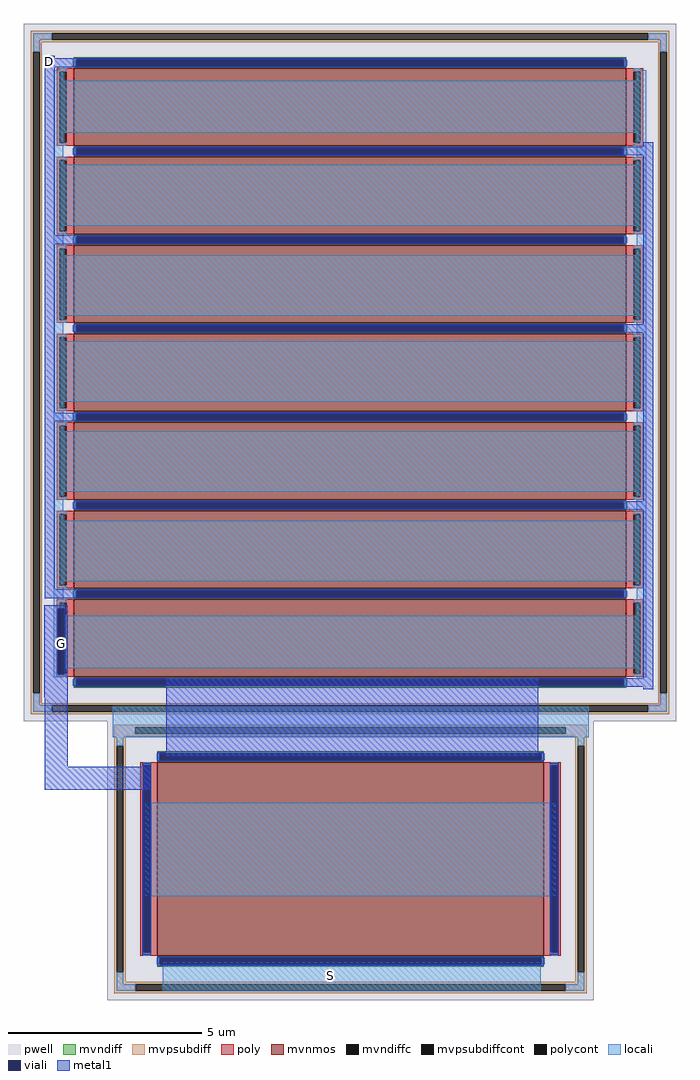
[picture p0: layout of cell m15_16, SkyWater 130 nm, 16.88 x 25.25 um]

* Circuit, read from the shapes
.subckt m15_16 D G S
XM1 D G n1 S sky130_fd_pr__nfet_g5v0d10v5 w=14.3 l=2 m=7
XM2 n1 G S S sky130_fd_pr__nfet_g5v0d10v5 w=10 l=5
.ends

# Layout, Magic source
magic
tech sky130A
magscale 1 2
<< locali >>
rect 74 3264 124 3318
rect 3090 3264 3140 3318
rect 74 2994 3140 3264
rect 74 2828 124 2994
rect 3090 2828 3140 2994
rect 74 2514 3140 2828
rect 74 1916 124 2514
rect 3090 2360 3140 2514
rect 128 2046 3140 2360
rect 3090 1916 3140 2046
rect 74 1602 3140 1916
rect 74 1450 124 1602
rect 3090 1450 3140 1602
rect 74 1136 3140 1450
rect 74 986 124 1136
rect 3090 986 3140 1136
rect 74 672 3140 986
rect 74 530 124 672
rect 74 192 94 530
rect 3090 494 3140 672
rect 132 224 3140 494
rect 74 176 124 192
rect 3090 176 3140 224
rect 380 -134 2842 24
rect 544 -956 2672 -474
rect 638 -1448 2594 -1296
<< viali >>
rect 94 192 132 530
<< metal1 >>
rect 28 586 80 3392
rect 3124 2922 3176 2944
rect 3016 2878 3176 2922
rect 3124 2004 3176 2878
rect 3024 1960 3176 2004
rect 3124 1088 3176 1960
rect 3024 1044 3176 1088
rect 24 530 146 550
rect 24 192 94 530
rect 132 192 146 530
rect 24 73 146 192
rect 3124 172 3176 1044
rect 27 -286 146 73
rect 656 -232 2580 170
rect 3026 128 3176 172
rect 3124 114 3176 128
rect 27 -405 575 -286
use sky130_fd_pr__nfet_g5v0d10v5_T8Q8WP  sky130_fd_pr__nfet_g5v0d10v5_T8Q8WP_0
transform 0 1 1607 -1 0 1753
box -1804 -1688 1804 1688
use sky130_fd_pr__nfet_g5v0d10v5_XPP34T  sky130_fd_pr__nfet_g5v0d10v5_XPP34T_0
transform 0 1 1610 -1 0 -764
box -730 -1258 730 1258
<< labels >>
flabel metal1 54 3364 54 3364 0 FreeSans 800 0 0 0 D
flabel locali 1504 -1366 1504 -1366 0 FreeSans 800 0 0 0 S
flabel viali 116 350 116 350 0 FreeSans 800 0 0 0 G
<< end >>

# cell sky130_fd_pr__nfet_g5v0d10v5_T8Q8WP: kit device sky130_fd_pr__nfet_g5v0d10v5, w 14.3 l 2 m 1 nf 7 diffcov 100 polycov 100 guard 1 glc 1 grc 1 gtc 1 gbc 1 tbcov 100 rlcov 100 topc 1 botc 1 poverlap 0 doverlap 1 lmin 0.50 wmin 0.42 class mosfet compatible {sky130_fd_pr__nfet_01v8 sky130_fd_pr__nfet_01v8_lvt sky130_fd_bs_flash__special_sonosfet_star sky130_fd_pr__nfet_g5v0d10v5 sky130_fd_pr__nfet_05v0_nvt sky130_fd_pr__nfet_03v3_nvt} full_metal 1 conn_gates 0 viasrc 100 viadrn 100 viagate 100 viagb 0 viagr 0 viagl 0 viagt 0 doports 1

# cell sky130_fd_pr__nfet_g5v0d10v5_XPP34T: kit device sky130_fd_pr__nfet_g5v0d10v5, w 10 l 5 m 1 nf 1 diffcov 100 polycov 100 guard 1 glc 1 grc 1 gtc 1 gbc 1 tbcov 100 rlcov 100 topc 1 botc 1 poverlap 0 doverlap 1 lmin 0.50 wmin 0.42 class mosfet compatible {sky130_fd_pr__nfet_01v8 sky130_fd_pr__nfet_01v8_lvt sky130_fd_bs_flash__special_sonosfet_star sky130_fd_pr__nfet_g5v0d10v5 sky130_fd_pr__nfet_05v0_nvt sky130_fd_pr__nfet_03v3_nvt} full_metal 1 conn_gates 0 viasrc 100 viadrn 100 viagate 100 viagb 0 viagr 0 viagl 0 viagt 0 doports 1
